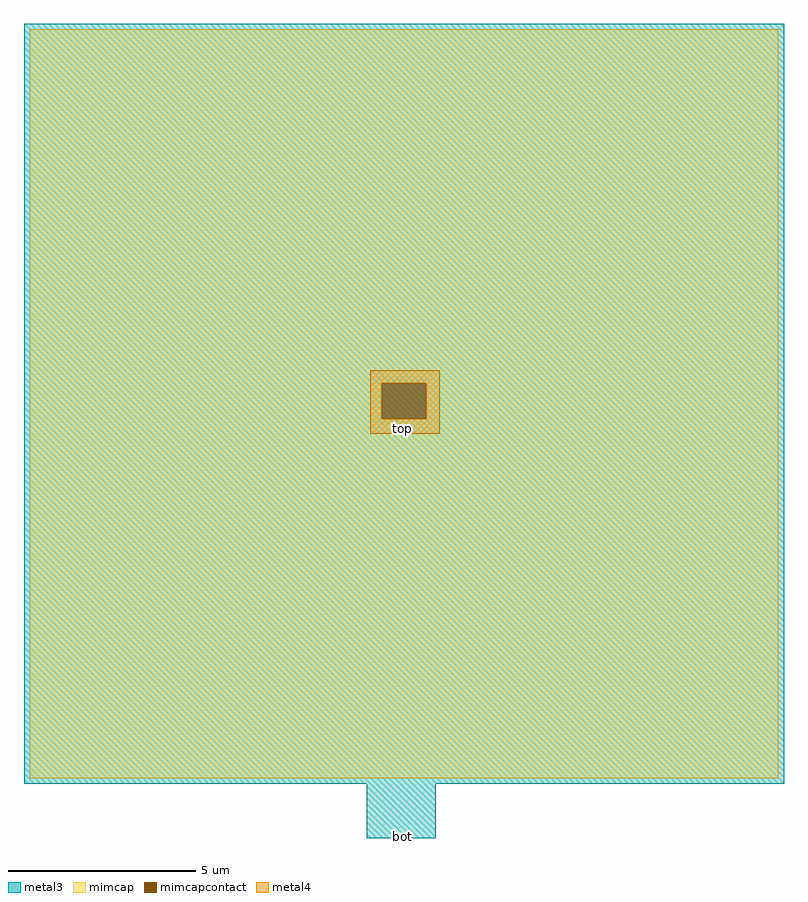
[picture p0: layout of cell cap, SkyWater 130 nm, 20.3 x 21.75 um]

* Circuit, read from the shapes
.subckt cap top bot
XC1 top bot sky130_fd_pr__cap_mim_m3_1 w=20 l=20
.ends

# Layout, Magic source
magic
tech sky130A
<< metal3 >>
rect -150 -125 1880 1905
rect 765 -270 950 -125
<< mimcap >>
rect -135 945 1865 1890
rect -135 850 805 945
rect 925 850 1865 945
rect -135 -110 1865 850
<< mimcapcontact >>
rect 805 850 925 945
<< metal4 >>
rect 775 945 960 980
rect 775 850 805 945
rect 925 850 960 945
rect 775 810 960 850
<< labels >>
rlabel metal4 860 825 860 825 5 top
port 1 s
rlabel metal3 860 -265 860 -265 5 bot
port 2 s
<< end >>
